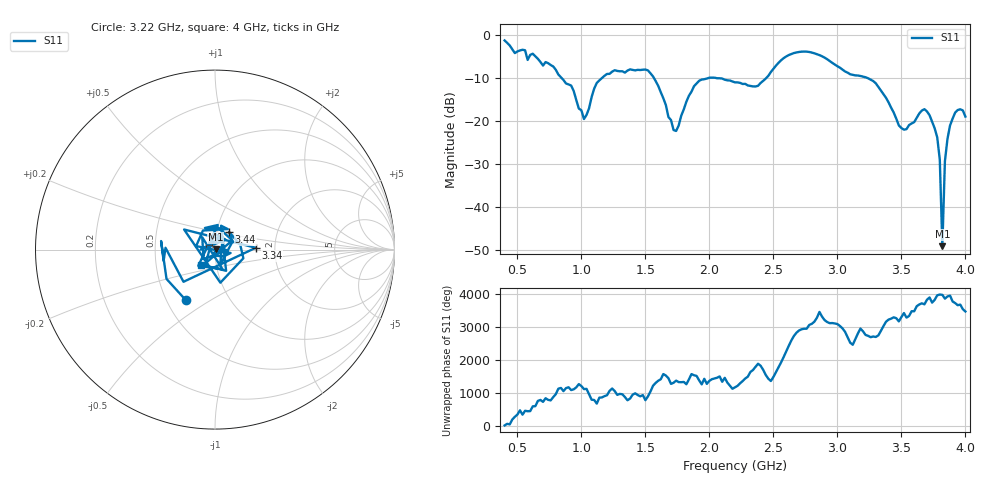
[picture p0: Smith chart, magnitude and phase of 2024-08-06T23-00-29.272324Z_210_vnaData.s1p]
!Created with skrf (http://scikit-rf.org).
# Hz S RI R 50.0
!freq ReS11 ImS11
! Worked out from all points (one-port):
!   181 points, 400 MHz to 4 GHz, reference 50 ohm
!   lowest |S11| = -49.1 dB at 3.82 GHz (marker M1), VSWR 1.01, Z = 50.3 + j0.07 ohm
!   |S11| at or under -10 dB: 1.568 GHz to 1.988 GHz (420.3 MHz wide, 23.6 % of centre); 2.06 GHz to 2.443 GHz (382.8 MHz wide, 17 % of centre); 3.239 GHz to end of sweep (the widest 3 of 4)
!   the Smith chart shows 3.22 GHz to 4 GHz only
!   S11 on the Smith chart (normalised r, x): 3.22 GHz: 0.62, -0.39; 3.34 GHz: 1.59, +0.03; 3.44 GHz: 1.14, +0.23; 4 GHz: 0.85, -0.14
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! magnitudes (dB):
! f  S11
! 400 MHz  -1.2
! 860 MHz  -10.4
! 920 MHz  -11.7
! 1.02 GHz  -19.5
! 1.12 GHz  -11.1
! 1.3 GHz  -8.4
! 1.52 GHz  -8.2
! 1.6 GHz  -11.8
! 1.72 GHz  -22.1
! 1.76 GHz  -21.0
! 1.92 GHz  -10.6
! 2.2 GHz  -11.0
! 2.38 GHz  -11.8
! 2.66 GHz  -4.1
! 3.1 GHz  -9.1
! 3.22 GHz  -9.8
! 3.34 GHz  -12.9
! 3.44 GHz  -18.0
! 3.5 GHz  -21.6
! 3.56 GHz  -20.9
! 3.68 GHz  -17.2
! 3.78 GHz  -23.8
! 3.8 GHz  -29.0
! 3.82 GHz  -49.1
! 3.84 GHz  -29.3
! 3.86 GHz  -24.1
! 3.92 GHz  -18.0
! 4 GHz  -18.9
